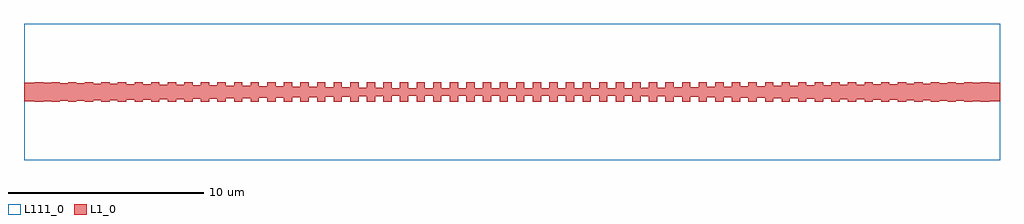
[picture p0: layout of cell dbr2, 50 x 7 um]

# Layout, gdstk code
import gdstk
lib = gdstk.Library(unit=1e-6, precision=1e-09)
def R(c, l, rs):  # rectangles x0, y0, x1, y1
    for r in rs: c.add(gdstk.rectangle(r[:2], r[2:], *l))
def A(c, l, x, y, w, h, nx, ny, dx, dy):  # array of equal rectangles
    R(c, l, [(x+i*dx, y+j*dy, x+i*dx+w, y+j*dy+h) for i in range(nx) for j in range(ny)])
def P(c, l, *ps):  # polygons
    for p in ps: c.add(gdstk.Polygon(p, *l))
L1_0 = (1, 0)
L111_0 = (111, 0)

dbr2 = lib.new_cell('dbr2')
A(dbr2, L1_0, 0.563, -0.5, 0.425, 1, 10, 1, 0.85, 0)
A(dbr2, L1_0, 9.062, -0.5, 0.426, 1, 13, 1, 0.85, 0)
A(dbr2, L1_0, 20.962, -0.5, 0.426, 1, 13, 1, 0.85, 0)
A(dbr2, L1_0, 32.012, -0.5, 0.425, 1, 21, 1, 0.85, 0)
R(dbr2, L1_0, [(20.113,-0.5,20.538,0.5), (20,-0.2,30,0.2)])
P(dbr2, L1_0, [(0,0.5),(0,-0.5),(20,-0.2),(20,0.2)],
  [(30,0.2),(30,-0.2),(50,-0.5),(50,0.5)])
R(dbr2, L111_0, [(0,-3.5,50,3.5)])

lib.write_gds('dbr2.gds')
